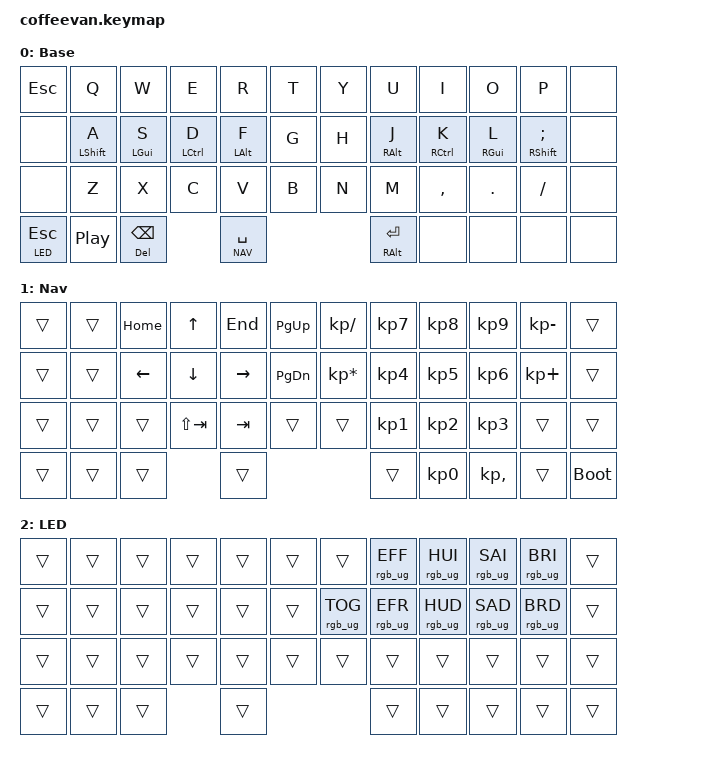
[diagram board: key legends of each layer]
// Copyright (c) 2023 The ZMK Contributors
// SPDX-License-Identifier: MIT

#include <behaviors.dtsi>
#include <dt-bindings/zmk/keys.h>
#include <dt-bindings/zmk/rgb.h>

#define BASE  0
#define NAV   1
#define LED   2

/ {
    behaviors {
        hml: home_row_mod_left {
            compatible = "zmk,behavior-hold-tap";
            label = "HML";
            #binding-cells = <2>;
            flavor = "tap-preferred";
            require-prior-idle-ms = <150>;
            tapping-term-ms = <200>;
            bindings = <&kp>, <&kp>;
            hold-trigger-key-positions = <6 7 8 9 10 18 19 20 21 22 29 30 31 32 33 34>;
            hold-trigger-on-release;
        };
        hmr: home_row_mod_right {
            compatible = "zmk,behavior-hold-tap";
            #binding-cells = <2>;
            flavor = "tap-preferred";
            require-prior-idle-ms = <150>;
            tapping-term-ms = <200>;
            bindings = <&kp>, <&kp>;
            hold-trigger-key-positions = <1 2 3 4 5 13 14 15 16 17 25 26 27 28 29>;
            hold-trigger-on-release;
        };
        del: new_behavior {
            compatible = "zmk,behavior-hold-tap";
            label = "DELETE";
            bindings = <&kp>, <&kp>;
            #binding-cells = <2>;
            tapping-term-ms = <200>;
            quick-tap-ms = <175>;
            flavor = "tap-preferred";
        };
    };

    combos {
        compatible = "zmk,combos";

        // Escape + Backspace = &studio_unlock
        combo_sys_reset {
            timeout-ms = <100>;
            key-positions = <0 11>;
            bindings = <&studio_unlock>;
        };
    };


    keymap {
        compatible = "zmk,keymap";

        base {
            display-name = "Base";
            bindings = <
&kp ESC        &kp Q      &kp W      &kp E      &kp R      &kp T       &kp Y      &kp U      &kp I         &kp O      &kp P        &none
&none          &hml LSHIFT A     &hml LGUI S      &hml LCTRL D      &hml LALT F     &kp G       &kp H      &hmr RALT J     &hmr RCTRL K         &hmr RGUI L      &hmr RSHFT SEMI   &none
&none          &kp Z      &kp X      &kp C      &kp V      &kp B       &kp N      &kp M      &kp COMMA     &kp DOT    &kp SLASH    &none
&lt LED ESC   &kp C_PP   &del DELETE BSPC     &lt NAV SPACE                      &hmr RALT ENTER   &none      &none         &none  &none
            >;
        };

        nav {
            display-name = "Nav";
            bindings = <
&trans       &trans     &kp HOME   &kp UP      &kp END    &kp PG_UP   &kp KP_DIVIDE    &kp KP_NUMBER_7     &kp KP_NUMBER_8        &kp KP_NUMBER_9     &kp KP_MINUS       &trans
&trans       &trans     &kp LEFT   &kp DOWN    &kp RIGHT  &kp PG_DN   &kp KP_MULTIPLY    &kp KP_NUMBER_4     &kp KP_NUMBER_5        &kp KP_NUMBER_6     &kp KP_PLUS       &trans
&trans       &trans     &trans     &kp LS(TAB) &kp TAB    &trans      &trans     &kp KP_NUMBER_1     &kp KP_NUMBER_2        &kp KP_NUMBER_3     &trans       &trans
&trans       &trans     &trans                 &trans      &trans                   &kp KP_NUMBER_0     &kp KP_COMMA        &trans  &bootloader
            >;
        };
        
        led {
            display-name = "LED";
            bindings = <
&trans       &trans       &trans       &trans      &trans    &trans   &trans    &rgb_ug RGB_EFF     &rgb_ug RGB_HUI       &rgb_ug RGB_SAI     &rgb_ug RGB_BRI       &trans
&trans       &trans       &trans       &trans      &trans    &trans   &rgb_ug RGB_TOG    &rgb_ug RGB_EFR    &rgb_ug RGB_HUD        &rgb_ug RGB_SAD     &rgb_ug RGB_BRD       &trans
&trans       &trans       &trans       &trans      &trans    &trans   &trans    &trans     &trans        &trans     &trans       &trans
&trans       &trans       &trans               &trans      &trans                 &trans     &trans        &trans  &trans
            >;

        };

    };
};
